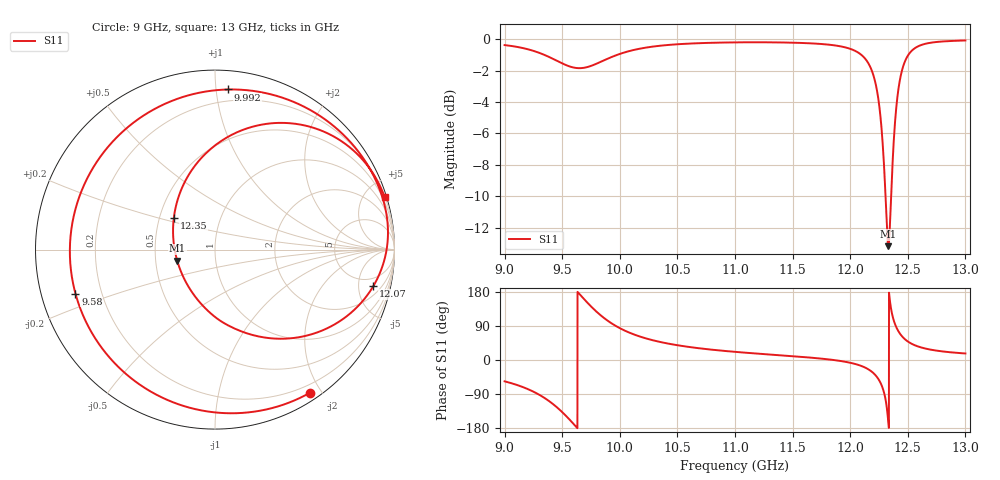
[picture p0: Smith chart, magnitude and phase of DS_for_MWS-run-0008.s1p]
! TOUCHSTONE file generated by CST DESIGN STUDIO
! Date and time: Wed Feb  5 13:44:23 2025
! Project name: C:\Work\MatlabApps\UnitCellOptimizationMatlab\CST\unitcell.cst
! Tree item: Tasks\Sweep1\SPara1\S-Parameters
! Header version: 2024
! Port assignment regex: !\s*Touchstone port\s*([0-9]+)\s*=\s*(CST MWS port|CST DES external port|CST DES block port)\s*(.+)\s* \(\"(.*)\"\)(\s*mode\s*([0-9]+))?.*
! Touchstone port assignment:
! Touchstone port 1 = CST DES external port 1 ("")
# GHz S MA R 50
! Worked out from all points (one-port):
!   4001 points, 9 GHz to 13 GHz, reference 50 ohm
!   lowest |S11| = -13.2 dB at 12.33 GHz (marker M1), VSWR 1.56, Z = 32.4 - j4.19 ohm
!   |S11| at or under -10 dB: 12.30642 GHz to 12.35519 GHz (48.77 MHz wide, 0.395 % of centre)
!   S11 on the Smith chart (normalised r, x): 9 GHz: 0.10, -1.86; 9.58 GHz: 0.10, -0.15; 9.992 GHz: 0.12, +1.08; 12.07 GHz: 3.30, -7.41; 12.35 GHz: 0.59, +0.23; 13 GHz: 0.22, +6.59
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9  0.9571 -56.3
9.16  0.9363 -71.6
9.311  0.9013 -93.5
9.41  0.8689 -113.9
9.5  0.8371 -137.5
9.58  0.8152 -162.5
9.68  0.8096 163.9
9.795  0.8342 128.3
9.886  0.8635 105.6
9.992  0.895 85.3
10  0.8971 84.0
10.218  0.9385 57.8
10.5  0.963 39.0
11  0.9763 21.5
11.5  0.9741 10.0
12  0.9313 -7.3
12.07  0.9058 -12.9
12.18  0.8066 -29.1
12.256  0.5977 -56.0
12.294  0.3942 -86.4
12.331  0.2194 -163.7
12.351  0.2897 142.3
12.383  0.5058 99.9
12.413  0.6692 78.9
12.5  0.8853 48.9
12.568  0.9391 38.0
12.661  0.9679 29.6
13  0.9901 17.2
